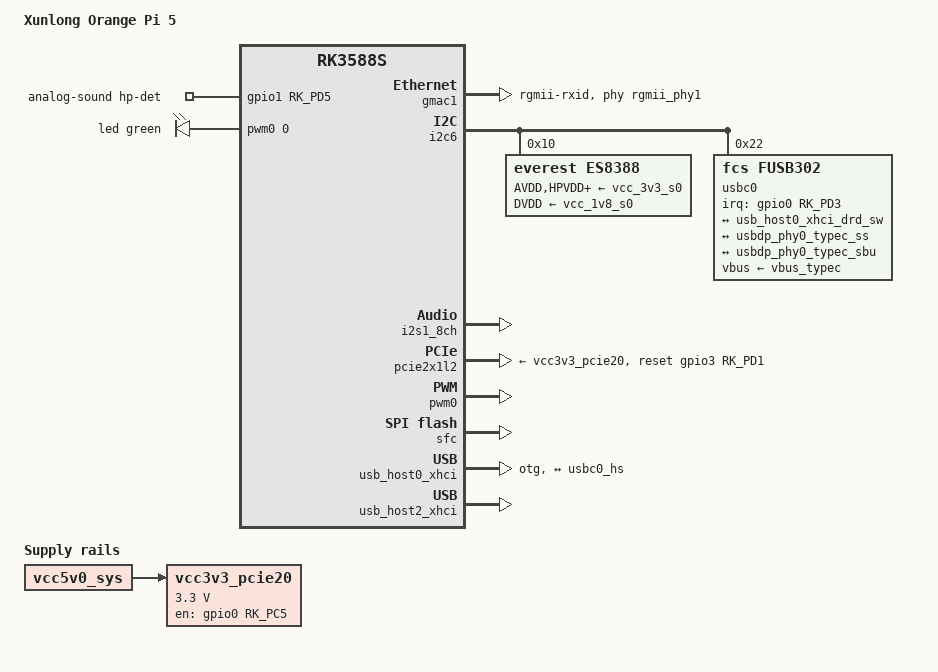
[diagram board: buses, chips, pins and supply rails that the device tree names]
// SPDX-License-Identifier: (GPL-2.0+ OR MIT)

/dts-v1/;

#include <dt-bindings/usb/pd.h>
#include "rk3588s-orangepi-5.dtsi"

/ {
	model = "Xunlong Orange Pi 5";
	compatible = "xunlong,orangepi-5", "rockchip,rk3588s";

	aliases {
		ethernet0 = &gmac1;
		mmc0 = &sdmmc;
	};

	analog-sound {
		compatible = "simple-audio-card";
		pinctrl-names = "default";
		pinctrl-0 = <&hp_detect>;
		simple-audio-card,name = "rockchip,es8388";
		simple-audio-card,bitclock-master = <&masterdai>;
		simple-audio-card,format = "i2s";
		simple-audio-card,frame-master = <&masterdai>;
		simple-audio-card,hp-det-gpios = <&gpio1 RK_PD5 GPIO_ACTIVE_HIGH>;
		simple-audio-card,mclk-fs = <256>;
		simple-audio-card,routing =
			"Headphones", "LOUT1",
			"Headphones", "ROUT1",
			"LINPUT1", "Microphone Jack",
			"RINPUT1", "Microphone Jack",
			"LINPUT2", "Onboard Microphone",
			"RINPUT2", "Onboard Microphone";
		simple-audio-card,widgets =
			"Microphone", "Microphone Jack",
			"Microphone", "Onboard Microphone",
			"Headphone", "Headphones";

		simple-audio-card,cpu {
			sound-dai = <&i2s1_8ch>;
		};

		masterdai: simple-audio-card,codec {
			sound-dai = <&es8388>;
			system-clock-frequency = <12288000>;
		};
	};

	pwm-leds {
		compatible = "pwm-leds";

		led {
			color = <LED_COLOR_ID_GREEN>;
			function = LED_FUNCTION_STATUS;
			linux,default-trigger = "heartbeat";
			max-brightness = <255>;
			pwms = <&pwm0 0 25000 0>;
		};
	};

	vcc3v3_pcie20: regulator-vcc3v3-pcie20 {
		compatible = "regulator-fixed";
		enable-active-high;
		gpios = <&gpio0 RK_PC5 GPIO_ACTIVE_HIGH>;
		regulator-name = "vcc3v3_pcie20";
		regulator-boot-on;
		regulator-min-microvolt = <3300000>;
		regulator-max-microvolt = <3300000>;
		startup-delay-us = <50000>;
		vin-supply = <&vcc5v0_sys>;
	};
};

&gmac1 {
	clock_in_out = "output";
	phy-handle = <&rgmii_phy1>;
	phy-mode = "rgmii-rxid";
	pinctrl-0 = <&gmac1_miim
		     &gmac1_tx_bus2
		     &gmac1_rx_bus2
		     &gmac1_rgmii_clk
		     &gmac1_rgmii_bus>;
	pinctrl-names = "default";
	tx_delay = <0x42>;
	status = "okay";
};

&i2c6 {
	es8388: audio-codec@10 {
		compatible = "everest,es8388", "everest,es8328";
		reg = <0x10>;
		clocks = <&cru I2S1_8CH_MCLKOUT>;
		AVDD-supply = <&vcc_3v3_s0>;
		DVDD-supply = <&vcc_1v8_s0>;
		HPVDD-supply = <&vcc_3v3_s0>;
		PVDD-supply = <&vcc_3v3_s0>;
		assigned-clocks = <&cru I2S1_8CH_MCLKOUT>;
		assigned-clock-rates = <12288000>;
		#sound-dai-cells = <0>;
	};

	usbc0: usb-typec@22 {
		compatible = "fcs,fusb302";
		reg = <0x22>;
		interrupt-parent = <&gpio0>;
		interrupts = <RK_PD3 IRQ_TYPE_LEVEL_LOW>;
		pinctrl-names = "default";
		pinctrl-0 = <&usbc0_int>;
		vbus-supply = <&vbus_typec>;
		status = "okay";

		usb_con: connector {
			compatible = "usb-c-connector";
			label = "USB-C";
			data-role = "dual";
			op-sink-microwatt = <1000000>;
			power-role = "dual";
			sink-pdos =
				<PDO_FIXED(5000, 1000, PDO_FIXED_USB_COMM)>;
			source-pdos =
				<PDO_FIXED(5000, 3000, PDO_FIXED_USB_COMM)>;
			try-power-role = "source";

			ports {
				#address-cells = <1>;
				#size-cells = <0>;

				port@0 {
					reg = <0>;
					usbc0_hs: endpoint {
						remote-endpoint = <&usb_host0_xhci_drd_sw>;
					};
				};

				port@1 {
					reg = <1>;
					usbc0_ss: endpoint {
						remote-endpoint = <&usbdp_phy0_typec_ss>;
					};
				};

				port@2 {
					reg = <2>;
					usbc0_sbu: endpoint {
						remote-endpoint = <&usbdp_phy0_typec_sbu>;
					};
				};
			};
		};
	};
};

&i2s1_8ch {
	rockchip,i2s-tx-route = <3 2 1 0>;
	rockchip,i2s-rx-route = <1 3 2 0>;
	pinctrl-names = "default";
	pinctrl-0 = <&i2s1m0_sclk
	             &i2s1m0_mclk
	             &i2s1m0_lrck
	             &i2s1m0_sdi1
	             &i2s1m0_sdo3>;
	status = "okay";
};

&pcie2x1l2 {
	reset-gpios = <&gpio3 RK_PD1 GPIO_ACTIVE_HIGH>;
	vpcie3v3-supply = <&vcc3v3_pcie20>;
	status = "okay";
};

&pwm0 {
	pinctrl-0 = <&pwm0m2_pins>;
	pinctrl-names = "default";
	status = "okay";
};

&sfc {
	status = "okay";
};

&usb_host0_xhci {
	dr_mode = "otg";
	usb-role-switch;

	port {
		usb_host0_xhci_drd_sw: endpoint {
			remote-endpoint = <&usbc0_hs>;
		};
	};
};

&usb_host2_xhci {
	status = "okay";
};

&usbdp_phy0 {
	mode-switch;
	orientation-switch;
	sbu1-dc-gpios = <&gpio4 RK_PA5 GPIO_ACTIVE_HIGH>;
	sbu2-dc-gpios = <&gpio4 RK_PA7 GPIO_ACTIVE_HIGH>;

	port {
		#address-cells = <1>;
		#size-cells = <0>;

		usbdp_phy0_typec_ss: endpoint@0 {
			reg = <0>;
			remote-endpoint = <&usbc0_ss>;
		};

		usbdp_phy0_typec_sbu: endpoint@1 {
			reg = <1>;
			remote-endpoint = <&usbc0_sbu>;
		};
	};
};
